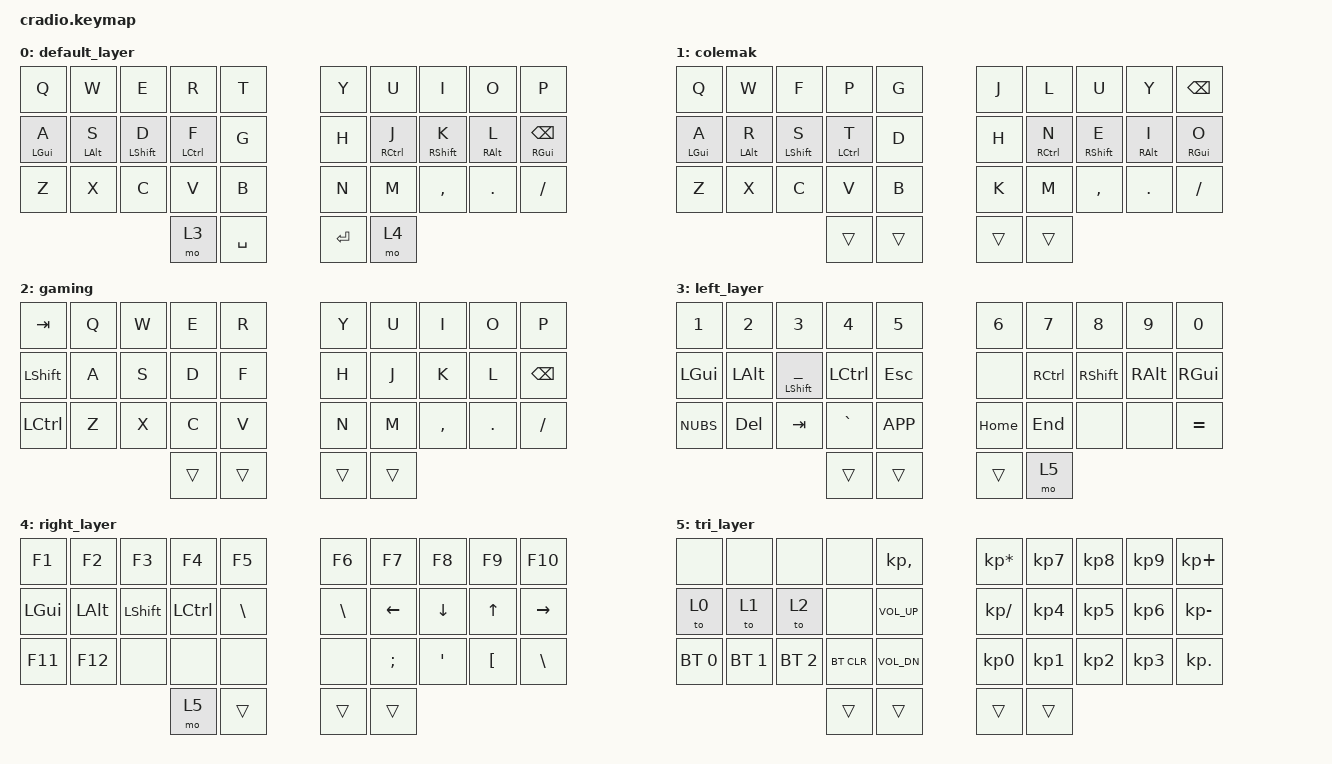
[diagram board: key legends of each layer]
/*
 * Copyright (c) 2020 The ZMK Contributors
 *
 * SPDX-License-Identifier: MIT
 */

#include <behaviors.dtsi>
#include <dt-bindings/zmk/keys.h>
#include <dt-bindings/zmk/bt.h>


&mt {
    flavor = "balanced";
    tapping_term_ms = <300>;
};

/ {

    behaviors {
      hm: homerow_mods {
        compatible = "zmk,behavior-hold-tap";
        label = "HOMEROW_MODS";
        #binding-cells = <2>;
        tapping-term-ms = <300>;
        quick_tap_ms = <0>;
        flavor = "balanced";
        bindings = <&kp>, <&kp>;
      };
    };

        keymap {
                compatible = "zmk,keymap";

       		default_layer {
		bindings = <
		&kp Q          &kp W       &kp E            &kp R             &kp T         &kp Y      &kp U      &kp I        &kp O        &kp P
		&hm LGUI A     &hm LALT S  &hm LSHFT D      &hm LCTRL F       &kp G         &kp H      &hm RCTRL J &hm RSHFT K  &hm RALT L   &hm RGUI BSPC
		&kp Z          &kp X       &kp C            &kp V             &kp B         &kp N      &kp M      &kp COMMA     &kp DOT      &kp SLASH
          				                            &mo 3             &kp SPACE     &kp ENTER  &mo 4
		>;
		};

		      colemak {
		bindings = <
		&kp Q         &kp W        &kp F            &kp P            &kp G  	    &kp J       &kp L         &kp U       &kp Y       &kp BSPC
		&hm LGUI A    &hm LALT R   &hm LSHFT S      &hm LCTRL T      &kp D          &kp H       &hm RCTRL N    &hm RSHFT E &hm RALT I  &hm RGUI O
		&kp Z         &kp X        &kp C            &kp V            &kp B          &kp K       &kp M         &kp COMMA    &kp DOT     &kp SLASH
		                                            &trans           &trans  		&trans      &trans
		>;
		};

		      gaming {
		bindings = <
    	&kp TAB        &kp Q       &kp W            &kp E           &kp R       	&kp Y		&kp U      &kp I        &kp O        &kp P
		&kp LSHFT      &kp A       &kp S            &kp D           &kp F       	&kp H		&kp J      &kp K        &kp L        &kp BSPC
		&kp LCTRL       &kp Z       &kp X            &kp C          &kp V       	&kp N		&kp M      &kp COMMA     &kp DOT     &kp SLASH
		                                            &trans			&trans			&trans		&trans
		>;
		};

       		left_layer {
		bindings = <
		&kp N1        &kp N2       &kp N3           &kp N4			&kp N5  	    &kp N6      &kp N7        &kp N8     &kp N9      &kp N0
		&kp LGUI      &kp LALT     &hm LSHFT UNDER  &kp LCTRL       &kp ESC  	 	&none       &kp RCTRL     &kp RSHFT  &kp RALT    &kp RGUI
		&kp NUBS   &kp DEL      &kp TAB          &kp GRAVE       &kp K_APP      	&kp HOME    &kp END       &none      &none       &kp EQUAL
					                                      &trans    &trans  		&trans      &mo 5
		>;
		};

		      right_layer {
		bindings = <
		&kp F1        &kp F2        &kp F3          &kp F4           &kp F5     		&kp F6      &kp F7        &kp F8     &kp F9     &kp F10
		&kp LGUI      &kp LALT      &kp LSHFT       &kp LCTRL        &kp BSLH    		&kp BSLH    &kp LEFT      &kp DOWN   &kp UP     &kp RIGHT
    	&kp F11       &kp F12       &none           &none            &none      		&none       &kp SEMI      &kp SQT    &kp LBKT   &kp BACKSLASH
				                                    &mo 5            &trans  			&trans      &trans
		>;
		};

		      tri_layer {
		bindings = <
		&none         &none         &none           &none           &kp KP_COMMA		&kp KP_MULTIPLY &kp KP_N7  &kp KP_N8 &kp KP_N9   &kp KP_PLUS
		&to 0         &to 1         &to 2           &none           &kp K_VOL_UP		&kp KP_DIVIDE   &kp KP_N4  &kp KP_N5 &kp KP_N6   &kp KP_MINUS
		&bt BT_SEL 0  &bt BT_SEL 1  &bt BT_SEL 2    &bt BT_CLR      &kp K_VOL_DN		&kp KP_N0       &kp KP_N1  &kp KP_N2 &kp KP_N3   &kp KP_DOT
					                            	&trans			&trans  			&trans          &trans
		>;
		};

	};
};
